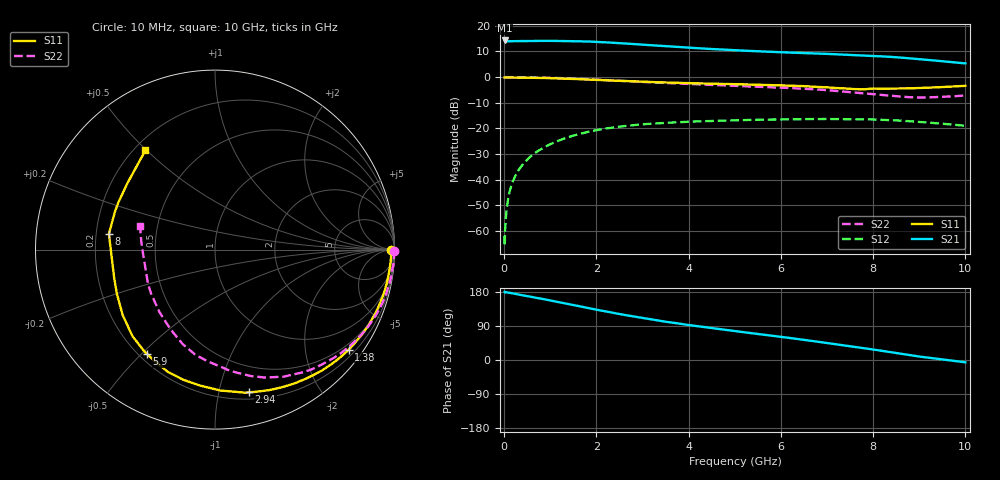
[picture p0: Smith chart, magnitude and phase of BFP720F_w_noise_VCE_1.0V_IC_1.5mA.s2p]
! Infineon Technologies  Discrete & RF Semiconductors
! BFP720F
! VCE =  1.0 V,  IC =  1.5 mA
! Common Emitter S-Parameters:  Jan 2016
# GHz  S  MA  R  50
!  f  S11  S21  S12  S22
! GHz  MAG  ANG  MAG  ANG  MAG  ANG  MAG  ANG
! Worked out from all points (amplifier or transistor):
!   233 points, 10 MHz to 10 GHz, reference 50 ohm
!   highest |S21| = 14.3 dB at 10 MHz (marker M1)
!   |S21| within 3 dB of that: start of sweep to 4.174 GHz
!   unconditionally stable (mu >= 1): nowhere
!   at 200 MHz: K = 0.01, MSG = 27.1 dB, |S12| = -40.3 dB
!   at 1.74 GHz: K = 0.13, MSG = 17.8 dB, |S12| = -21.7 dB
!   at 10 GHz: K = 0.87, MSG = 12.2 dB, |S12| = -19.0 dB
!   lowest NFmin = 0.44 dB at 450 MHz
!   S11 on the Smith chart (normalised r, x): 10 MHz: open; 1.38 GHz: 0.36, -2.97; 2.94 GHz: 0.26, -1.23; 5.9 GHz: 0.23, -0.52; 8 GHz: 0.25, +0.07; 10 GHz: 0.24, +0.49
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0.01  0.9816 -0.1  5.192 179.8  0.0008 -28.5  0.9983 -0.4
0.015  0.9814 -0.2  5.076 179.0  0.0005 40.6  0.9991 -0.8
0.02  0.9813 -0.4  4.961 178.2  0.001 89.0  1 -1.1
0.045  0.982 -1.2  4.998 178.6  0.0022 92.5  0.9984 -1.1
0.11  0.9817 -2.8  5.02 177.4  0.0054 88.3  0.9987 -2.2
0.32  0.9776 -8.2  5.042 172.7  0.0157 84.2  0.9941 -6.6
0.86  0.9595 -22.6  5.097 160.4  0.0422 73.0  0.9781 -18.1
1.38  0.9299 -36.8  5.04 148.0  0.0667 61.8  0.9457 -29.5
1.68  0.9075 -45.3  5.011 140.6  0.0796 55.2  0.9208 -36.1
2.2  0.8675 -59.2  4.78 128.2  0.099 44.0  0.8741 -47.2
2.6  0.839 -69.0  4.542 119.1  0.1106 35.9  0.8386 -54.8
2.94  0.8177 -76.6  4.341 112.1  0.1183 29.7  0.8094 -60.5
3.4  0.7897 -85.8  4.075 103.1  0.1262 22.0  0.7732 -67.0
4  0.7619 -96.3  3.762 92.3  0.1347 12.9  0.7332 -74.0
5.1  0.7251 -112.3  3.319 74.9  0.1443 -1.6  0.6693 -84.6
5.9  0.6939 -123.1  3.08 62.7  0.149 -11.4  0.6276 -92.8
6.8  0.6422 -140.1  2.879 48.2  0.1517 -22.9  0.5703 -105.5
7.4  0.5995 -155.8  2.734 38.1  0.1509 -30.9  0.5174 -116.8
8  0.5975 171.6  2.598 27.7  0.1488 -39.2  0.4656 -131.7
8.4  0.5959 159.5  2.476 20.3  0.1443 -45.3  0.4317 -145.9
9  0.6123 142.8  2.247 9.1  0.134 -54.2  0.3994 -170.6
10  0.6752 125.1  1.849 -6.1  0.112 -65.2  0.4378 162.3
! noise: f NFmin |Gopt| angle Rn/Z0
0.45  0.44  0.75  5  0.37
0.9  0.55  0.75  12  0.34
1.8  0.57  0.74  25  0.28
2.4  0.59  0.74  31  0.27
5.5  0.96  0.53  91  0.17
10  1.49  0.36  -141  0.14
